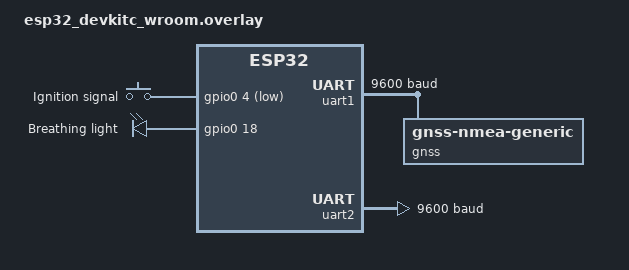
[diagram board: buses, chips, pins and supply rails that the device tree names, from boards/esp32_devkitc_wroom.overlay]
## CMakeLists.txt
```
# Copyright (c) 2023 Trackunit Corporation
# SPDX-License-Identifier: Apache-2.0

cmake_minimum_required(VERSION 3.20.0)
find_package(Zephyr REQUIRED HINTS $ENV{ZEPHYR_BASE})
project(gnss_sample)

target_sources(app PRIVATE src/main.c
                           src/breathing_light.c
                           src/lorawan_uart_smartmodular.c
                           src/gnss_manager.c
                           src/ignition_monitor.c)
```

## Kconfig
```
mainmenu "GNSS tracker application"

config BREATHING_LIGHT_ENABLE
    bool "Enable/disable breathing light"
    default y    

config BREATHING_LIGHT_TASK_PRIO
	int "Breathing light task priority"
	default 7

config BREATHING_LIGHT_TASK_STACK_SIZE
    int "Breathing light task stack size"
    default 1024
    
config LORAWAN_UART_SMARTMODULAR_DEVADDR
    string "Device Address - LoRaWAN ABP"
    default "00:00:00:00"

config LORAWAN_UART_SMARTMODULAR_APPSKEY
    string "Application Session Key - LoRaWAN ABP"
    default "00:00:00:00:00:00:00:00:00:00:00:00:00:00:00:00"

config LORAWAN_UART_SMARTMODULAR_NWKSKEY
    string "Network Session Key - LoRaWAN ABP"
    default "00:00:00:00:00:00:00:00:00:00:00:00:00:00:00:00"

config LORAWAN_UART_SMARTMODULAR_APPEUI
    string "Application EUI - LoRaWAN ABP"
    default "00:00:00:00:00:00:00:00"

config GNSS_MANAGER_TASK_PRIO
	int "GNSS manager task priority"
	default 7

config GNSS_MANAGER_TASK_STACK_SIZE
    int "GNSS manager task stack size"
    default 1024

config GNSS_MANAGER_TIME_TO_SEND_LORAWAN_MESSAGE
    int "Time to send LoRaWAN message (ms)"
    default 30000    

config IGNITION_TASK_STACK_SIZE
    int "Ignition monitor task stack size"
    default 1024
    

source "Kconfig.zephyr"    
```

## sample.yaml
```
# Copyright (c) 2023 Trackunit Corporation
# SPDX-License-Identifier: Apache-2.0

sample:
  name: GNSS LoRaWAN tracker
tests:
  sample.drivers.gnss:
    tags:
      - drivers
      - gnss
      - lorawan
    filter: dt_alias_exists("gnss")
    depends_on: gnss
```

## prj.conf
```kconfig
# Copyright (c) 2023 Trackunit Corporation
# SPDX-License-Identifier: Apache-2.0

CONFIG_GNSS=y
CONFIG_GNSS_SATELLITES=y
CONFIG_LOG=y
CONFIG_LOG_BUFFER_SIZE=8192
# CONFIG_GNSS_DUMP_TO_LOG=y
CONFIG_GNSS_LOG_LEVEL_DBG=y
CONFIG_GPIO=y
```

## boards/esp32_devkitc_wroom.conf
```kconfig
CONFIG_UART_INTERRUPT_DRIVEN=y
```

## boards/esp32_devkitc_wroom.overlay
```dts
/ {
    aliases {
        gnss = &gnss;
        led0 = &led0;
        ignition = &button1;
    };
};

/ {
    buttons {
        compatible = "gpio-keys";
        button1: button_1 {
            gpios = <&gpio0 4 (GPIO_PULL_UP | GPIO_ACTIVE_LOW)>;
			label = "Ignition signal";
			zephyr,code = <INPUT_KEY_1>;
        };
    };

     leds {
        compatible = "gpio-leds";
        led0: led {
            gpios = <&gpio0 18 GPIO_ACTIVE_HIGH>;
            label = "Breathing light";
        };
      };   
};

&pinctrl {
/* UART1: gnss */
uart1_default: uart1_default {
		group1 {
			pinmux = <UART1_TX_GPIO25>;
		};
		group2 {
			pinmux = <UART1_RX_GPIO26>;
			bias-pull-up;
		};
	};

/* UART2: lorawan */
uart2_default: uart2_default {
		group1 {
			pinmux = <UART2_TX_GPIO23>;
		};
		group2 {
			pinmux = <UART2_RX_GPIO5>;
			bias-pull-up;
		};
	};    
};

&uart1 {
        current-speed = <9600>;
        status = "okay";

        gnss: gnss-nmea-generic {
                compatible = "gnss-nmea-generic";
                status = "okay";
        };
};

/* UART2: lorawan */
&uart2 {
        current-speed = <9600>;
        status = "okay";

};
```

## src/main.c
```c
/* Project: GNSS LoRaWAN tracker
 * Author: Pedro Bertoleti
 */

#include <stdio.h>
#include <zephyr/device.h>
#include <zephyr/logging/log.h>
#include "breathing_light.h"
#include "lorawan_uart_smartmodular.h"
#include "gnss_manager.h"
#include "ignition_monitor.h"

LOG_MODULE_REGISTER(lorawan_gnss_tracker);

int main(void)
{
	int ret_breathing_light = 0;
	int ret_ignition_monitor = 0;
	int ret_lorawan_smartmodular_uart = 0;
	int ret_gnss_manager = 0;

	LOG_INF("Starting LoRaWAN GNSS tracker...");
	
	ret_breathing_light = init_breathing_light();
	ret_ignition_monitor = init_ignition_monitor();
	ret_lorawan_smartmodular_uart = init_lorawan_smartmodular_uart();
	ret_gnss_manager = init_gnss_manager();

	if ( (ret_breathing_light == 1) && (ret_ignition_monitor == 1) && 
	     (ret_lorawan_smartmodular_uart == 1) && (ret_gnss_manager == 1) )
	{
        LOG_INF("All LoRaWAN GNSS tracker modules have been successfully started");
	}
	else
	{
		LOG_ERR("Some modules experienced errors in their init routines.");
	}
	
	return 0;
}
```

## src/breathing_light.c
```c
#include <zephyr/kernel.h>
#include <zephyr/device.h>
#include <zephyr/drivers/gpio.h>
#include <zephyr/sys/printk.h>
#include <zephyr/sys/__assert.h>
#include <zephyr/logging/log.h>
#include "breathing_light.h"

LOG_MODULE_DECLARE(lorawan_gnss_tracker);

/* Specify which node is used for LED in device tree*/
#define LED0_NODE DT_ALIAS(led0)

/* Define time for toggling breathing light LED */
#define BREATHING_LIGHT_TIME_MS              1000

/* Define thread stack size */
K_THREAD_STACK_DEFINE(breathing_light_thread_stack, CONFIG_BREATHING_LIGHT_TASK_STACK_SIZE);

/* Load beathing light LED device tree data */
static const struct gpio_dt_spec led = GPIO_DT_SPEC_GET(LED0_NODE, gpios);

/* Pulse counter thread data */
struct k_thread breathing_light_thread_data;

/* Prototype of breathing light task */
void breathing_light_task(void *p1, void *p2, void *p3);

/* Function: init breathing light, by setting up LED output
 * Params: none
 * Return: 0: error
 *         1: ok
 */
int init_breathing_light(void)
{
    int ret;
	int init_breathing_light_status = 0;

    LOG_INF("Starting breathing light module...");

	if (!gpio_is_ready_dt(&led)) 
    {
		init_breathing_light_status = 0;
		goto END_BREATHING_LIGHT_INIT;
	}

	ret = gpio_pin_configure_dt(&led, GPIO_OUTPUT_ACTIVE);
	if (ret < 0) 
    {
		init_breathing_light_status = 0;
		goto END_BREATHING_LIGHT_INIT;
	}

    /* Create pulse counter thread */
    k_thread_create(&breathing_light_thread_data, breathing_light_thread_stack,
			      K_THREAD_STACK_SIZEOF(breathing_light_thread_stack),
			      breathing_light_task, NULL, NULL, NULL,
			      CONFIG_BREATHING_LIGHT_TASK_PRIO, 0, K_NO_WAIT);

    LOG_INF("Breathing light module has been started");

    init_breathing_light_status = 1;
	
END_BREATHING_LIGHT_INIT:
    return init_breathing_light_status;
}

/* Function: init breathing light, by setting up LED output
 * Params: none
 * Return: none
 */
void breathing_light_task(void *p1, void *p2, void *p3)
{
    while (1) 
    {
		gpio_pin_toggle_dt(&led);
		k_msleep(BREATHING_LIGHT_TIME_MS);
	}
}
```

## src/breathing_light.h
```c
/* Header file: breathing light */

#ifndef HEADER_BREATHING_LIGHT
#define HEADER_BREATHING_LIGHT

#endif

/* Prototypes */
int init_breathing_light(void);
```

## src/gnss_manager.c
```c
#include <zephyr/drivers/gnss.h>
#include <zephyr/device.h>
#include <zephyr/sys/printk.h>
#include <zephyr/kernel.h>
#include <zephyr/logging/log.h>
#include "lorawan_uart_smartmodular.h"
#include "ignition_monitor.h"

LOG_MODULE_DECLARE(lorawan_gnss_tracker);

/* Define thread stack size */
K_THREAD_STACK_DEFINE(gnss_manager_thread_stack, CONFIG_BREATHING_LIGHT_TASK_STACK_SIZE);

/* Pulse counter thread data */
struct k_thread gnss_manager_thread_data;

/* Last latitude and longitude */
static float last_latitude;
static float last_longitude;

/* Variable to indicate fix status*/
static bool gnss_fix_status = false;

/* Prototype of GNSS manager task */
void gnss_manager_task(void *p1, void *p2, void *p3);

/* Function - GNSS data received */
static void gnss_data_cb(const struct device *dev, const struct gnss_data *data)
{
	/* If GNSS module position is fixed, prints it in verbose debug */
	if (data->info.fix_status != GNSS_FIX_STATUS_NO_FIX) 
	{
        last_latitude = data->nav_data.latitude / 1000000000.0;
        last_longitude = data->nav_data.longitude / 1000000000.0;
        LOG_INF("%s has fix!", dev->name);
        gnss_fix_status = true;
	}
    else
    {
        gnss_fix_status = false;
    }
}

GNSS_DATA_CALLBACK_DEFINE(DEVICE_DT_GET(DT_NODELABEL(gnss)), gnss_data_cb);

/* Function: callback - satellites found */
#if CONFIG_GNSS_SATELLITES
static void gnss_satellites_cb(const struct device *dev, const struct gnss_satellite *satellites,
			       uint16_t size)
{
	LOG_INF("%u satellites have been found.", size);
}
#endif

GNSS_SATELLITES_CALLBACK_DEFINE(DEVICE_DT_GET(DT_NODELABEL(gnss)), gnss_satellites_cb);

/* Function: init GNSS manager
 * Params: none
 * Return: 0: failure
 *         1: success
 */
int init_gnss_manager(void)
{
    LOG_INF("Starting GNSS manager module...");

    last_latitude = 0.0;
    last_longitude = 0.0;

    /* Create GNSS manager thread */
    k_thread_create(&gnss_manager_thread_data, gnss_manager_thread_stack,
			      K_THREAD_STACK_SIZEOF(gnss_manager_thread_stack),
			      gnss_manager_task, NULL, NULL, NULL,
			      CONFIG_GNSS_MANAGER_TASK_PRIO, 0, K_NO_WAIT);

    LOG_INF("GNSS manager module has been started");    

    return 1;              
}

/* Function: get last latitude value
 * Params: none
 * Return: last latitude
 */
float get_last_latitude(void)
{
    return last_latitude;
}

/* Function: get last longitude value
 * Params: none
 * Return: last longitude
 */
float get_last_longitude(void)
{
    return last_longitude;
}

/* GNSS manager thread implementation */
void gnss_manager_task(void *p1, void *p2, void *p3)
{
    while(1)
    {
        LOG_INF("Sending tracking data through LoRaWAN...");
        send_tracking_data(get_last_latitude(), get_last_longitude(), get_ignition_staus(), gnss_fix_status);
        LOG_INF("Tracking data sent through LoRaWAN. Waiting for %d ms to send it again.", CONFIG_GNSS_MANAGER_TIME_TO_SEND_LORAWAN_MESSAGE);
        k_msleep(CONFIG_GNSS_MANAGER_TIME_TO_SEND_LORAWAN_MESSAGE);
    }
}
```

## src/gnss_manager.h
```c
/* Header file: GNSS manager */

#ifndef HEADER_GNSS_MANAGER
#define HEADER_GNSS_MANAGER

#endif

/* Prototypes */
int init_gnss_manager(void);
float get_last_latitude(void);
float get_last_longitude(void);
```

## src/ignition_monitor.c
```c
#include <zephyr/kernel.h>
#include <zephyr/device.h>
#include <zephyr/drivers/gpio.h>
#include <zephyr/sys/util.h>
#include <zephyr/logging/log.h>
#include "ignition_monitor.h"

LOG_MODULE_DECLARE(lorawan_gnss_tracker);

/* Define time used for debounce ignition input */
#define IGNITION_DEBOUNCE_TIME    400  //ms

/* Ignition input debounce timer */
static struct k_timer ignition_debounce_timer;

/* Variable to indicate ignition status */
static bool ignition_status = false;

/*  Variable to indicate timestamp (uptime, in milisseconds) when ignition state became on */
int64_t timestamp_ignition_on = 0;

/*  Variable to indicate how many time (in milisseconds) ignition was on */
int64_t total_time_ignition_on = 0;

/*
 * Get ignition signal input configuration from the devicetree ignition alias.
 */
#define IGNITIONINPUT_NODE	DT_ALIAS(ignition)

#if !DT_NODE_HAS_STATUS(IGNITIONINPUT_NODE, okay)
#error "Unsupported board: ignition devicetree alias is not defined"
#endif
static const struct gpio_dt_spec ignition = GPIO_DT_SPEC_GET_OR(IGNITIONINPUT_NODE, gpios,
							      {0});
static struct gpio_callback ignition_cb_data;

/* Ignition input debounce timer callback */
static void ignition_debounce_timer_callback(struct k_timer *timer);

/* Function: ignition detection callback
 * Params: callback params
 * Return: none
 */
void ignition_detected(const struct device *dev, struct gpio_callback *cb, uint32_t pins)
{
 	k_timer_start(&ignition_debounce_timer, K_MSEC(IGNITION_DEBOUNCE_TIME), K_NO_WAIT);
}

/* Function: timer callback, used for debouncing ignition input
 * Params: callback params
 * Return: none
 */
static void ignition_debounce_timer_callback(struct k_timer *timer)
{
    int current_state = gpio_pin_get_dt(&ignition);
    
    switch (current_state)
    {
        case 1:
            
            timestamp_ignition_on = k_uptime_get();
            ignition_status = true;
            LOG_INF("Ignition is on");
            break;

        case 0:
            total_time_ignition_on = k_uptime_get() - timestamp_ignition_on;
            ignition_status = false;
            LOG_INF("Ignition is off. Time with ignition on = %lld ms", total_time_ignition_on);            
            break;

        default:
            break;    
    }
}

/* Function: init ignition monitor
 * Params: none
 * Return: 0: error
 *         1: ok
 */
int init_ignition_monitor(void)
{
    int ret;
    int ignition_module_init_status = 0;
    
    LOG_INF("Starting ignition monitor module...");

    if (!gpio_is_ready_dt(&ignition)) 
	{
        LOG_ERR("Error: ignition input device %s is not ready", ignition.port->name);
        ignition_module_init_status = 0;
        goto END_IGNITION_MODULE_INIT;
	}

	ret = gpio_pin_configure_dt(&ignition, GPIO_INPUT);
	if (ret != 0) 
	{
        LOG_ERR("Error %d: failed to configure %s pin %d", ret, ignition.port->name, ignition.pin);
		ignition_module_init_status = 0;
        goto END_IGNITION_MODULE_INIT;
	}

    /* Configure ignition input interrupt edge as rising edge */
	ret = gpio_pin_interrupt_configure_dt(&ignition,
					                      GPIO_INT_EDGE_BOTH);
	if (ret != 0) 
	{
        LOG_ERR("Error %d: failed to configure interrupt on %s pin %d", ret, ignition.port->name, ignition.pin);
		ignition_module_init_status = 0;
        goto END_IGNITION_MODULE_INIT;
	}

	gpio_init_callback(&ignition_cb_data, ignition_detected, BIT(ignition.pin));
	gpio_add_callback(ignition.port, &ignition_cb_data);
	LOG_INF("Finished setting up ignition input at %s pin %d", ignition.port->name, ignition.pin);

    /* Init ignition input debounce timer */
    k_timer_init(&ignition_debounce_timer, ignition_debounce_timer_callback, NULL);

    LOG_INF("Ignition monitor module has been started");
    ignition_module_init_status = 1;

END_IGNITION_MODULE_INIT:
    return ignition_module_init_status;
}

/* Function: obtain ignition status
 * Params: none
 * Return: ignition status (true: ignition on / false: ignition off)
 */
bool get_ignition_staus(void)
{
    return ignition_status;
}

/* Function: get time with ignition on
 * Params: none
 * Return: time with ignition on
 */
int64_t get_time_with_ignition_on(void)
{
    return total_time_ignition_on;
}
```

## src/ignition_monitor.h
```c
/* Header file: ignition monitor */

#ifndef HEADER_IGNITION_MONITOR
#define HEADER_IGNITION_MONITOR

#endif

/* Prototypes */
int init_ignition_monitor(void);
bool get_ignition_staus(void);
int64_t get_time_with_ignition_on(void);
```

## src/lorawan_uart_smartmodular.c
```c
#include <zephyr/kernel.h>
#include <zephyr/device.h>
#include <zephyr/drivers/uart.h>
#include <stdio.h>
#include <string.h>
#include <zephyr/logging/log.h>
#include "lorawan_uart_smartmodular.h"

LOG_MODULE_DECLARE(lorawan_gnss_tracker);

/* Define time to receive response from smart modular lorawan module */
#define TIME_TO_RECEIVE_RESPONSE   1000 //ms

/* Define LoRaWAN Port (for LoRaWAN communication) */
#define LORAWAN_PORT               12

/* Define size (bytes) of latitude and longitude */
#define SIZE_LAT_LONG_BYTES        sizeof(float)

/* Load device tree defs for lorawan uart */
const struct device *uart2 = DEVICE_DT_GET(DT_NODELABEL(uart2));

/* Struct for lorawan uart configuration */
struct uart_config uart_cfg = {
	.baudrate = 9600,
	.parity = PARITY_LORAWAN_UART,
	.stop_bits = STOP_BITS_LORAWAN_UART,
	.flow_ctrl = FLOW_CTRL_LORAWAN_UART,
	.data_bits = DATA_BITS_LORAWAN_UART,
};

/* Local functions prototypes */
void wake_up_lorawan_smartmodular_uart(void);
void reset_lorawan_smartmodular_uart(void);
void join_mode_abp_smartmodular_uart(void);
void class_A_smartmodular_uart(void);
void device_address_smartmodular_uart(void);
void appskey_smartmodular_uart(void);
void nwskey_smartmodular_uart(void);
void appeui_smartmodular_uart(void);
void send_custom_at_command_lorawan_smartmodular_uart(char *at_command);
void rcv_response_lorawan_smartmodular_uart(void);

/* Function: init smart modular lorawan module uart communication
 * Params: none
 * Return: 0: error
 *         1: ok
 */
int init_lorawan_smartmodular_uart(void)
{
    int rc;
	int init_lorawan_smartmodular_uart_status = 0;

	LOG_INF("Starting LoRaWAN UART Smart Modular module...");

    rc = uart_configure(uart2, &uart_cfg);
    
    if (rc)
    {
		LOG_INF("Failed to configure lorawan uart");
		init_lorawan_smartmodular_uart_status = 0;
		goto END_INIT_LORAWAN_SMART_MODULAR;
	}
        
    /* Wake up lorawan module */
	wake_up_lorawan_smartmodular_uart();

	/* Reset lorawan module */
	reset_lorawan_smartmodular_uart();

	/* Configure join mode as ABP */
	join_mode_abp_smartmodular_uart();

	/* Configure LoRaWAN class as A */
	class_A_smartmodular_uart();

	/* Configure Device Address */
	device_address_smartmodular_uart();

	/* Configure Application Session Key */
    appskey_smartmodular_uart();

	/* Configure Network Session Key */
	nwskey_smartmodular_uart();

	/* Configure Application EUI */
	appeui_smartmodular_uart();

    LOG_INF("LoRaWAN UART Smart Modular module has been started");
    init_lorawan_smartmodular_uart_status = 1;

END_INIT_LORAWAN_SMART_MODULAR:	
	return init_lorawan_smartmodular_uart_status;
}

/* Function: send AT command to wake up lorawan module
 * Params: none
 * Return: none
 */
void wake_up_lorawan_smartmodular_uart(void)
{
    char at_cmd[100] = {0};

	memset(at_cmd, 0x00, sizeof(at_cmd));
	snprintf(at_cmd, sizeof(at_cmd), "%s%s", AT_CMD_WAKE, AT_CMD_TERMINATOR);
	send_custom_at_command_lorawan_smartmodular_uart(at_cmd);
	k_msleep(TIME_TO_RECEIVE_RESPONSE);
    rcv_response_lorawan_smartmodular_uart();
}

/* Function: send AT command to reset lorawan module
 * Params: none
 * Return: none
 */
void reset_lorawan_smartmodular_uart(void)
{
    char at_cmd[100] = {0};

	memset(at_cmd, 0x00, sizeof(at_cmd));
	snprintf(at_cmd, sizeof(at_cmd), "%s%s", AT_CMD_RESET, AT_CMD_TERMINATOR);
	send_custom_at_command_lorawan_smartmodular_uart(at_cmd);
	k_msleep(TIME_TO_RECEIVE_RESPONSE);
    rcv_response_lorawan_smartmodular_uart();
}

/* Function: send AT command to configure join mode as ABP
 * Params: none
 * Return: none
 */
void join_mode_abp_smartmodular_uart(void)
{
    char at_cmd[100] = {0};

	memset(at_cmd, 0x00, sizeof(at_cmd));
	snprintf(at_cmd, sizeof(at_cmd), "%s%s", AT_CMD_JOIN_MODE_ABP, AT_CMD_TERMINATOR);
	send_custom_at_command_lorawan_smartmodular_uart(at_cmd);
	k_msleep(TIME_TO_RECEIVE_RESPONSE);
    rcv_response_lorawan_smartmodular_uart();
}

/* Function: send AT command to configure lorawan class as A
 * Params: none
 * Return: none
 */
void class_A_smartmodular_uart(void)
{
	char at_cmd[100] = {0};

	memset(at_cmd, 0x00, sizeof(at_cmd));
	snprintf(at_cmd, sizeof(at_cmd), "%s%s", AT_CMD_CLASS, AT_CMD_TERMINATOR);
	send_custom_at_command_lorawan_smartmodular_uart(at_cmd);
	k_msleep(TIME_TO_RECEIVE_RESPONSE);
    rcv_response_lorawan_smartmodular_uart();
}

/* Function: send AT command to configure lorawan class as A
 * Params: none
 * Return: none
 */
void device_address_smartmodular_uart(void)
{
	char at_cmd[100] = {0};

	memset(at_cmd, 0x00, sizeof(at_cmd));
	snprintf(at_cmd, sizeof(at_cmd), "%s=%s%s", AT_CMD_DEVADDR, CONFIG_LORAWAN_UART_SMARTMODULAR_DEVADDR, AT_CMD_TERMINATOR);
	send_custom_at_command_lorawan_smartmodular_uart(at_cmd);
	k_msleep(TIME_TO_RECEIVE_RESPONSE);
    rcv_response_lorawan_smartmodular_uart();
}

/* Function: send AT command to configure lorawan application session key
 * Params: none
 * Return: none
 */
void appskey_smartmodular_uart(void)
{
    char at_cmd[100] = {0};

	memset(at_cmd, 0x00, sizeof(at_cmd));
	snprintf(at_cmd, sizeof(at_cmd), "%s=%s%s", AT_CMD_APPSKEY, CONFIG_LORAWAN_UART_SMARTMODULAR_APPSKEY, AT_CMD_TERMINATOR);
	send_custom_at_command_lorawan_smartmodular_uart(at_cmd);
	k_msleep(TIME_TO_RECEIVE_RESPONSE);
    rcv_response_lorawan_smartmodular_uart();
}

/* Function: send AT command to configure lorawan network session key
 * Params: none
 * Return: none
 */
void nwskey_smartmodular_uart(void)
{
    char at_cmd[100] = {0};

	memset(at_cmd, 0x00, sizeof(at_cmd));
	snprintf(at_cmd, sizeof(at_cmd), "%s=%s%s", AT_CMD_NWSKEY, CONFIG_LORAWAN_UART_SMARTMODULAR_NWKSKEY, AT_CMD_TERMINATOR);
	send_custom_at_command_lorawan_smartmodular_uart(at_cmd);
	k_msleep(TIME_TO_RECEIVE_RESPONSE);
    rcv_response_lorawan_smartmodular_uart();
}

/* Function: send AT command to configure lorawan application eui
 * Params: none
 * Return: none
 */
void appeui_smartmodular_uart(void)
{
    char at_cmd[100] = {0};

	memset(at_cmd, 0x00, sizeof(at_cmd));
	snprintf(at_cmd, sizeof(at_cmd), "%s=%s%s", AT_CMD_APPEUI, CONFIG_LORAWAN_UART_SMARTMODULAR_APPEUI, AT_CMD_TERMINATOR);
	send_custom_at_command_lorawan_smartmodular_uart(at_cmd);
	k_msleep(TIME_TO_RECEIVE_RESPONSE);
    rcv_response_lorawan_smartmodular_uart();
}

/* Function: send tracking data as LoRaWAN message
 * Params: - tracking data (latitude and longitude)
 *         - ignition status
 * Return: none
 */
void send_tracking_data(float latitude, float longitude, bool ignition_status, bool gnss_fix_status)
{
    char at_cmd[100] = {0};
	char latitude_byte_array[SIZE_LAT_LONG_BYTES] = {0};
	char longitude_byte_array[SIZE_LAT_LONG_BYTES] = {0};
	char tracker_status_byte = 0x00;

	/* Tracker status byte breakdown:
	 *
	 * Bit 0: ignition status (0: off / 1: on)
	 * Bit 1: GNSS fix status
	 * Bit 2: reserved
	 * Bit 3: reserved
	 * Bit 4: reserved
	 * Bit 5: reserved
	 * Bit 6: reserved
	 * Bit 7: reserved
	*/

    /* Format tracket status byte */
	/* Ignition status */
	if (ignition_status == true)
	{
		tracker_status_byte = tracker_status_byte | IGNITION_STATUS_MASK;
	}

    /* GNSS fix status */
	if (gnss_fix_status == true)
	{
		tracker_status_byte = tracker_status_byte | GNSS_STATUS_MASK;
	}


	memset(at_cmd, 0x00, sizeof(at_cmd));
	memcpy(latitude_byte_array, (char *)&latitude, SIZE_LAT_LONG_BYTES);
	memcpy(longitude_byte_array, (char *)&longitude, SIZE_LAT_LONG_BYTES);
	snprintf(at_cmd, sizeof(at_cmd), "%s=%d:%02X%02X%02X%02X%02X%02X%02X%02X%02X%s", AT_CMD_SEND_BYTE, 
	                                                                                 LORAWAN_PORT, 
													                                 latitude_byte_array[0],
														                             latitude_byte_array[1],
														                             latitude_byte_array[2],
														                             latitude_byte_array[3],
																				     longitude_byte_array[0],
														                             longitude_byte_array[1],
														                             longitude_byte_array[2],
														                             longitude_byte_array[3],
																			     	 tracker_status_byte,
														                             AT_CMD_TERMINATOR);

    LOG_INF("Full AT CMD(send lorawan message): %s", at_cmd);

	send_custom_at_command_lorawan_smartmodular_uart(at_cmd);
	k_msleep(TIME_TO_RECEIVE_RESPONSE);
    rcv_response_lorawan_smartmodular_uart();
}

/* Function: send custom AT command to smart modular lorawan module
 * Params: pointer to char array containing string
 * Return: none
 */
void send_custom_at_command_lorawan_smartmodular_uart(char *at_command)
{
	int msg_len = strlen(at_command);
    int i = 0;

	for (i=0; i<msg_len; i++) 
    {
		uart_poll_out(uart2, at_command[i]);
	}
}

/* Function: receive response from smart modular lorawan module
 * Params: 
 * Return: none
 */
void rcv_response_lorawan_smartmodular_uart(void)
{
    char c;
		
    LOG_INF("Bytes received from LoRaWAN module:");

	while (!uart_poll_in(uart2, &c)) 
	{
        LOG_INF("%c", c);
	}
}
```

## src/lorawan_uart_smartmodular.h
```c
/* Header file: smart modular (lorawan module) */
#include <zephyr/drivers/uart.h>

#ifndef HEADER_LORAWAN_UART
#define HEADER_LORAWAN_UART

/* UART parametrization */
#define BAUDRATE_LORAWAN_UART    9600
#define PARITY_LORAWAN_UART      UART_CFG_PARITY_NONE
#define STOP_BITS_LORAWAN_UART   UART_CFG_STOP_BITS_1
#define FLOW_CTRL_LORAWAN_UART   UART_CFG_FLOW_CTRL_NONE
#define DATA_BITS_LORAWAN_UART   UART_CFG_DATA_BITS_8

/* AT Commands */
#define AT_CMD_TERMINATOR        "\n"
#define AT_CMD_WAKE              "AT"
#define AT_CMD_RESET             "ATZ"
#define AT_CMD_JOIN_MODE_ABP     "AT+NJM=0"
#define AT_CMD_CLASS             "AT+CLASS=A"
#define AT_CMD_DEVADDR           "AT+DADDR"
#define AT_CMD_APPSKEY           "AT+APPSKEY"
#define AT_CMD_NWSKEY            "AT+NWKSKEY"
#define AT_CMD_APPEUI            "AT+APPEUI"
#define AT_CMD_SEND_BYTE         "AT+SENDB"

/*  Tracker status masks */
#define IGNITION_STATUS_MASK    0x01
#define GNSS_STATUS_MASK        0x02
#define BIT_2_STATUS_MASK       0x04
#define BIT_3_STATUS_MASK       0x08
#define BIT_4_STATUS_MASK       0x10
#define BIT_5_STATUS_MASK       0x20
#define BIT_6_STATUS_MASK       0x40
#define BIT_7_STATUS_MASK       0x80

#endif

/* Prototypes */
int init_lorawan_smartmodular_uart(void);
void send_tracking_data(float latitude, float longitude, bool ignition_status, bool gnss_fix_status);
```
